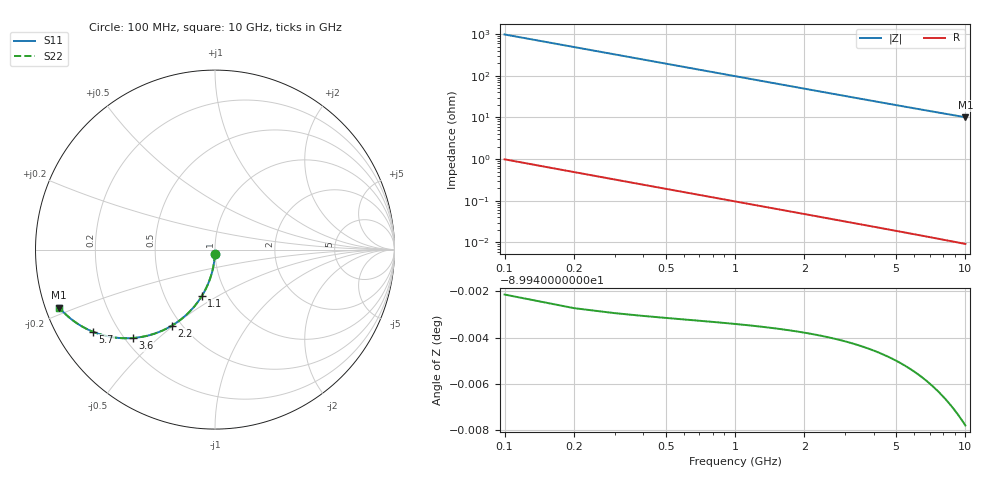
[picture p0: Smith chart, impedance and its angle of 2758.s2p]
# Hz S RI R 50.00
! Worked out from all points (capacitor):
!   100 points, 100 MHz to 10 GHz, reference 50 ohm
!   read as one part in shunt: C = 1.63 pF near 100 MHz
!   lowest |Z| = 10.1 ohm at 10 GHz (marker M1)
!   S11 on the Smith chart (normalised r, x): 100 MHz: 1.00, -0.05; 1.1 GHz: 0.76, -0.42; 2.2 GHz: 0.44, -0.49; 3.6 GHz: 0.23, -0.42; 5.7 GHz: 0.11, -0.30; 10 GHz: 0.04, -0.18
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1e8  -0.000651 -0.0254  0.9993 -0.0257  0.9993 -0.0257  -0.000651 -0.0254
2e8  -0.00263 -0.0508  0.9973 -0.0513  0.9973 -0.0513  -0.00263 -0.0508
3e8  -0.0059 -0.0759  0.994 -0.0767  0.994 -0.0767  -0.0059 -0.0759
4e8  -0.0104 -0.1007  0.9895 -0.1018  0.9895 -0.1018  -0.0104 -0.1007
5e8  -0.0162 -0.1251  0.9838 -0.1265  0.9838 -0.1265  -0.0162 -0.1251
6e8  -0.0231 -0.1491  0.9768 -0.1507  0.9768 -0.1507  -0.0231 -0.1491
7e8  -0.0312 -0.1725  0.9687 -0.1744  0.9687 -0.1744  -0.0312 -0.1725
9e8  -0.0505 -0.2173  0.9495 -0.2198  0.9495 -0.2198  -0.0505 -0.2173
1.1e9  -0.0735 -0.259  0.9264 -0.2621  0.9264 -0.2621  -0.0735 -0.259
1.4e9  -0.1138 -0.3152  0.8861 -0.3191  0.8861 -0.3191  -0.1138 -0.3152
1.8e9  -0.1749 -0.3769  0.825 -0.382  0.825 -0.382  -0.1749 -0.3769
2.2e9  -0.2404 -0.4238  0.7595 -0.4299  0.7595 -0.4299  -0.2404 -0.4238
2.8e9  -0.3386 -0.4688  0.6613 -0.4767  0.6613 -0.4767  -0.3386 -0.4688
3.4e9  -0.43 -0.4898  0.5699 -0.4994  0.5699 -0.4994  -0.43 -0.4898
3.6e9  -0.4581 -0.4927  0.5418 -0.5028  0.5418 -0.5028  -0.4581 -0.4927
4.3e9  -0.5466 -0.4912  0.4533 -0.5034  0.4533 -0.5034  -0.5466 -0.4912
5.1e9  -0.6289 -0.4753  0.3709 -0.4898  0.3709 -0.4898  -0.6289 -0.4753
5.7e9  -0.6792 -0.4581  0.3206 -0.4744  0.3206 -0.4744  -0.6792 -0.4581
6.7e9  -0.7452 -0.4255  0.2545 -0.4448  0.2545 -0.4448  -0.7452 -0.4255
7.5e9  -0.7858 -0.3988  0.2139 -0.4205  0.2139 -0.4205  -0.7858 -0.3988
8.4e9  -0.8216 -0.37  0.178 -0.3944  0.178 -0.3944  -0.8216 -0.37
1e10  -0.8675 -0.3236  0.132 -0.3529  0.132 -0.3529  -0.8675 -0.3236
